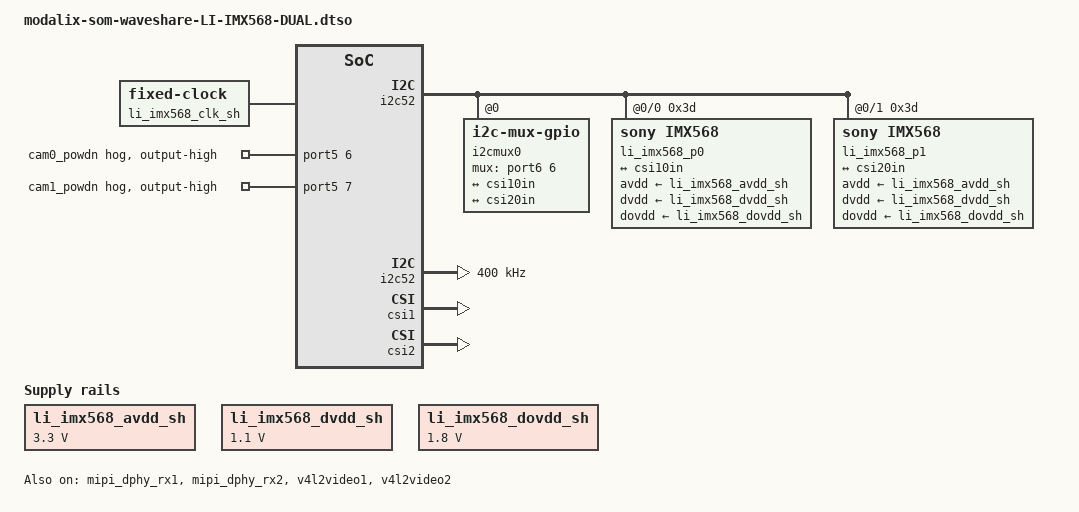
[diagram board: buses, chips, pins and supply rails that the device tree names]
// SPDX-License-Identifier: (GPL-2.0+ OR MIT)
/*
 * Copyright (c) 2026 SiMa ai
 *
 * li-imx568 (direct Sony imx568, sony,imx568) dual on modalix waveshare SoM
 * csi1 + csi2, CSI-2 controller mode, i2c addr 0x3d, RAW12 1920x1080 first.
 */

/dts-v1/;
/plugin/;

&{/} {
    li_imx568_avdd_sh: csi_fixedregulator@0 {
        compatible = "regulator-fixed";
        regulator-name = "li_imx568_avdd_sh";
        regulator-min-microvolt = <3300000>;
        regulator-max-microvolt = <3300000>;
        enable-active-high;
        startup-delay-us = <300000>;
        regulator-always-on;
    };

    li_imx568_dvdd_sh: csi_fixedregulator@1 {
        compatible = "regulator-fixed";
        regulator-name = "li_imx568_dvdd_sh";
        regulator-min-microvolt = <1100000>;
        regulator-max-microvolt = <1100000>;
        regulator-always-on;
    };

    li_imx568_dovdd_sh: csi_fixedregulator@2 {
        compatible = "regulator-fixed";
        regulator-name = "li_imx568_dovdd_sh";
        regulator-min-microvolt = <1800000>;
        regulator-max-microvolt = <1800000>;
        regulator-always-on;
    };

    li_imx568_clk_sh: csi_camera-clk {
        compatible = "fixed-clock";
        #clock-cells = <0>;
        clock-frequency = <37125000>;
    };

    i2cmux0: i2cmux@0 {
        compatible = "i2c-mux-gpio";
        i2c-parent = <&i2c52>;
        #address-cells = <1>;
        #size-cells = <0>;
        /* Set port6 gpio6 to GPIO_ACTIVE_LOW mode */
        mux-gpios = <&port6 6 0>;

        i2cmux0p0: i2c@0 {
            reg = <0>;
            #address-cells = <1>;
            #size-cells = <0>;
        };

        i2cmux0p1: i2c@1 {
            reg = <1>;
            #address-cells = <1>;
            #size-cells = <0>;
        };
    };
};

&port5 {
    cam-hog0 {
        gpio-hog;
        /* Set port5 gpio6 to GPIO_ACTIVE_HIGH mode */
        gpios = <6 0>;
        output-high;
        line-name = "cam0_powdn";
    };

    cam-hog1 {
        gpio-hog;
        /* Set port5 gpio7 to GPIO_ACTIVE_HIGH mode */
        gpios = <7 0>;
        output-high;
        line-name = "cam1_powdn";
    };
};

&i2c52 {
    status = "okay";
    clock-frequency = <400000>;
    #address-cells = <1>;
    #size-cells = <0>;
};

/* csi1 controller mode; bt-* porches are a 1080p starting point, tune per board. */
&csi1 {
    status = "okay";
    simaai,bt-pixelclock = /bits/ 64 <500000000>;
    simaai,bt-hsync = <2>;
    simaai,bt-hbackporch = <100>;
    simaai,bt-hfrontporch = <1548>;
    simaai,bt-vsync = <1>;
    simaai,bt-vbackporch = <68>;
    simaai,bt-vfrontporch = <1>;
    simaai,ipi-controller-mode = <1>;
    simaai,ipi-emb-data-enable = <0>;
};

/* csi2 controller mode; bt-* porches are a 1080p starting point, tune per board. */
&csi2 {
    status = "okay";
    simaai,bt-pixelclock = /bits/ 64 <500000000>;
    simaai,bt-hsync = <2>;
    simaai,bt-hbackporch = <100>;
    simaai,bt-hfrontporch = <1548>;
    simaai,bt-vsync = <1>;
    simaai,bt-vbackporch = <68>;
    simaai,bt-vfrontporch = <1>;
    simaai,ipi-controller-mode = <1>;
    simaai,ipi-emb-data-enable = <0>;
};

&axi_vdma1 {
    status = "okay";
};

&axi_vdma2 {
    status = "okay";
};

&mipi_dphy_rx1 {
    status = "okay";
};

&mipi_dphy_rx2 {
    status = "okay";
};

&v4l2video1 {
    status = "okay";
};

&v4l2video2 {
    status = "okay";
};

&v4l2vdma1 {
    status = "okay";
};

&v4l2vdma2 {
    status = "okay";
};

&csi10in {
    clock-lanes = <0>;
    data-lanes = <1 2>;
    link-frequencies = /bits/ 64 <594000000>;
    remote-endpoint = <&cam10out>;
    clock-continuous;
};

&csi20in {
    clock-lanes = <0>;
    data-lanes = <1 2>;
    link-frequencies = /bits/ 64 <594000000>;
    remote-endpoint = <&cam20out>;
    clock-continuous;
};

&i2cmux0p0 {
    li_imx568_p0: imx568@3d {
        compatible = "sony,imx568";
        /* sensor stream-on takes ~600 ms; do not free-run the IPI before it */
        simaai,ipi-enable-delay-ms = <800>;
        reg = <0x3d>;

        clocks = <&li_imx568_clk_sh>;
        clock-names = "inck";

        avdd-supply = <&li_imx568_avdd_sh>;
        dvdd-supply = <&li_imx568_dvdd_sh>;
        dovdd-supply = <&li_imx568_dovdd_sh>;

        port {
            cam10out: endpoint {
                clock-lanes = <0>;
                data-lanes = <1 2>;
                link-frequencies = /bits/ 64 <594000000>;
                remote-endpoint = <&csi10in>;
                clock-continuous;
            };
        };
    };
};

&i2cmux0p1 {
    li_imx568_p1: imx568@3d {
        compatible = "sony,imx568";
        /* sensor stream-on takes ~600 ms; do not free-run the IPI before it */
        simaai,ipi-enable-delay-ms = <800>;
        reg = <0x3d>;

        clocks = <&li_imx568_clk_sh>;
        clock-names = "inck";

        avdd-supply = <&li_imx568_avdd_sh>;
        dvdd-supply = <&li_imx568_dvdd_sh>;
        dovdd-supply = <&li_imx568_dovdd_sh>;

        port {
            cam20out: endpoint {
                clock-lanes = <0>;
                data-lanes = <1 2>;
                link-frequencies = /bits/ 64 <594000000>;
                remote-endpoint = <&csi20in>;
                clock-continuous;
            };
        };
    };
};
